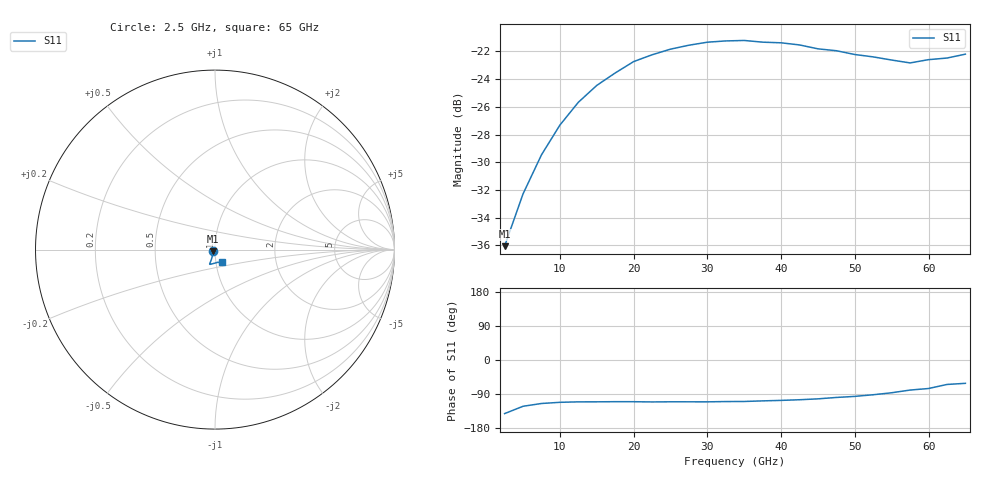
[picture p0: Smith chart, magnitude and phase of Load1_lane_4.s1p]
! File created by SignalIntegrity v1.5.1: Signal and Power Integrity Tools
! https://github.com/Nubis-Communications/SignalIntegrity
# MHz S MA R 50.0
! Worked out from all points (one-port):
!   26 points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, 2.5 GHz to 65 GHz, reference 50 ohm
!   lowest |S11| = -36.1 dB at 2.5 GHz (marker M1), VSWR 1.03, Z = 48.8 - j0.957 ohm
!   |S11| at or under -10 dB: start of sweep to end of sweep
2500  0.01574 -141.4
5000  0.0243 -122.1
7500  0.03362 -114.8
10000  0.04305 -111.7
12500  0.05203 -110.5
15000  0.05987 -110.4
17500  0.06639 -110.0
20000  0.07298 -110.1
22500  0.07722 -110.7
25000  0.08092 -110.3
27500  0.08362 -110.3
30000  0.08575 -110.4
32500  0.08665 -109.7
35000  0.08699 -109.5
37500  0.08577 -107.9
40000  0.08531 -106.6
42500  0.08381 -104.9
45000  0.08114 -102.5
47500  0.07987 -98.8
50000  0.07741 -96.0
52500  0.07588 -91.7
55000  0.07393 -86.4
57500  0.07217 -79.3
60000  0.07417 -75.2
62500  0.07516 -64.6
65000  0.07762 -61.6
